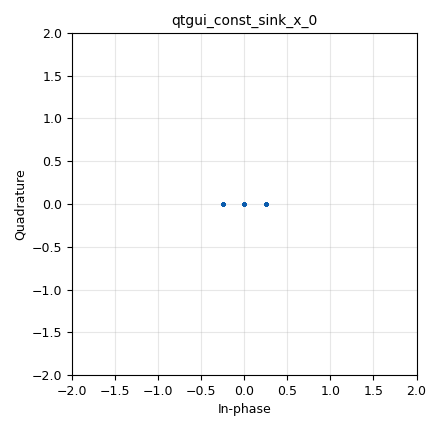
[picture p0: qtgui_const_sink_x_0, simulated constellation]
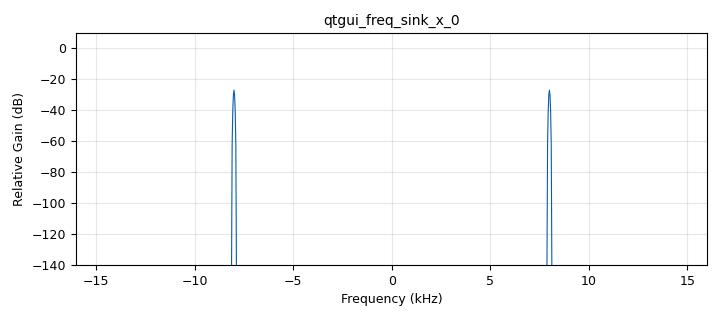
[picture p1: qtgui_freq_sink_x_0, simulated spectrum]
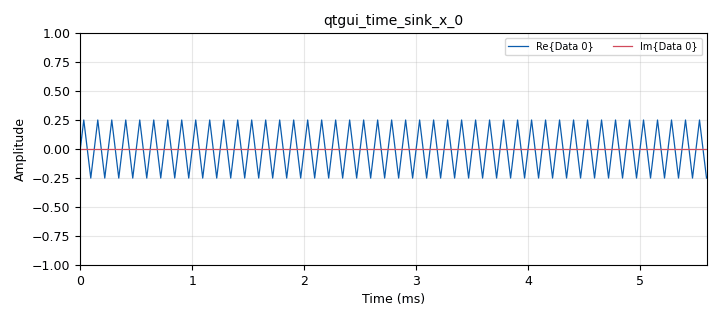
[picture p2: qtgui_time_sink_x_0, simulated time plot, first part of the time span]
<?xml version='1.0' encoding='utf-8'?>
<?grc format='1' created='3.7.13'?>
<flow_graph>
<block>
<key>options</key>
<param><key>id</key><value>top_block</value></param>
<param><key>generate_options</key><value>qt_gui</value></param>
</block>
<block>
<key>variable</key>
<param><key>id</key><value>samp_rate</value></param>
<param><key>value</key><value>32000</value></param>
</block>
<block>
<key>analog_const_source_x</key>
<param><key>id</key><value>analog_const_source_x_0</value></param>
<param><key>const</key><value>1</value></param>
<param><key>type</key><value>float</value></param>
</block>
<block>
<key>analog_const_source_x</key>
<param><key>id</key><value>analog_const_source_x_0_0</value></param>
<param><key>const</key><value>1</value></param>
<param><key>type</key><value>float</value></param>
</block>
<block>
<key>analog_const_source_x</key>
<param><key>id</key><value>analog_const_source_x_1</value></param>
<param><key>const</key><value>0</value></param>
<param><key>type</key><value>float</value></param>
</block>
<block>
<key>analog_sig_source_x</key>
<param><key>id</key><value>analog_sig_source_x_0</value></param>
<param><key>amp</key><value>1</value></param>
<param><key>freq</key><value>8000</value></param>
<param><key>offset</key><value>0</value></param>
<param><key>type</key><value>float</value></param>
<param><key>samp_rate</key><value>samp_rate</value></param>
<param><key>waveform</key><value>analog.GR_SIN_WAVE</value></param>
</block>
<block>
<key>analog_sig_source_x</key>
<param><key>id</key><value>analog_sig_source_x_0_0</value></param>
<param><key>amp</key><value>.25</value></param>
<param><key>freq</key><value>8000</value></param>
<param><key>offset</key><value>0</value></param>
<param><key>type</key><value>float</value></param>
<param><key>samp_rate</key><value>samp_rate</value></param>
<param><key>waveform</key><value>analog.GR_SIN_WAVE</value></param>
</block>
<block>
<key>audio_sink</key>
<param><key>id</key><value>audio_sink_0</value></param>
<param><key>samp_rate</key><value>samp_rate</value></param>
</block>
<block>
<key>blocks_add_xx</key>
<param><key>id</key><value>blocks_add_xx_1</value></param>
<param><key>type</key><value>float</value></param>
</block>
<block>
<key>blocks_float_to_complex</key>
<param><key>id</key><value>blocks_float_to_complex_0</value></param>
</block>
<block>
<key>blocks_multiply_xx</key>
<param><key>id</key><value>blocks_multiply_xx_0</value></param>
<param><key>type</key><value>float</value></param>
</block>
<block>
<key>blocks_multiply_xx</key>
<param><key>id</key><value>blocks_multiply_xx_0_0</value></param>
<param><key>type</key><value>float</value></param>
</block>
<block>
<key>blocks_patterned_interleaver</key>
<param><key>id</key><value>blocks_patterned_interleaver_0</value></param>
<param><key>type</key><value>float</value></param>
<param><key>pattern</key><value>[0,2,1,2,1]</value></param>
</block>
<block>
<key>blocks_patterned_interleaver</key>
<param><key>id</key><value>blocks_patterned_interleaver_2</value></param>
<param><key>type</key><value>float</value></param>
<param><key>pattern</key><value>[0,1]</value></param>
</block>
<block>
<key>blocks_repeat</key>
<param><key>id</key><value>blocks_repeat_0</value></param>
<param><key>interp</key><value>350</value></param>
<param><key>type</key><value>float</value></param>
</block>
<block>
<key>blocks_sub_xx</key>
<param><key>id</key><value>blocks_sub_xx_0</value></param>
<param><key>type</key><value>float</value></param>
</block>
<block>
<key>blocks_vector_source_x</key>
<param><key>id</key><value>blocks_vector_source_x_0</value></param>
<param><key>type</key><value>float</value></param>
<param><key>repeat</key><value>True</value></param>
<param><key>vector</key><value>(1,1,1,0, 0, 0,1,1,1)</value></param>
</block>
<block>
<key>qtgui_const_sink_x</key>
<param><key>id</key><value>qtgui_const_sink_x_0</value></param>
<param><key>size</key><value>1024</value></param>
<param><key>type</key><value>complex</value></param>
</block>
<block>
<key>qtgui_freq_sink_x</key>
<param><key>id</key><value>qtgui_freq_sink_x_0</value></param>
<param><key>bw</key><value>samp_rate</value></param>
<param><key>fc</key><value>0</value></param>
<param><key>fftsize</key><value>1024</value></param>
<param><key>showports</key><value>True</value></param>
<param><key>type</key><value>complex</value></param>
<param><key>wintype</key><value>firdes.WIN_BLACKMAN_hARRIS</value></param>
</block>
<block>
<key>qtgui_time_sink_x</key>
<param><key>id</key><value>qtgui_time_sink_x_0</value></param>
<param><key>color1</key><value>"blue"</value></param>
<param><key>label1</key><value></value></param>
<param><key>color2</key><value>"red"</value></param>
<param><key>label2</key><value></value></param>
<param><key>size</key><value>1024</value></param>
<param><key>srate</key><value>samp_rate</value></param>
<param><key>type</key><value>complex</value></param>
</block>
<connection><source_block_id>analog_const_source_x_0</source_block_id><sink_block_id>blocks_patterned_interleaver_0</sink_block_id><source_key>0</source_key><sink_key>2</sink_key></connection>
<connection><source_block_id>analog_const_source_x_0_0</source_block_id><sink_block_id>blocks_sub_xx_0</sink_block_id><source_key>0</source_key><sink_key>0</sink_key></connection>
<connection><source_block_id>analog_const_source_x_1</source_block_id><sink_block_id>blocks_patterned_interleaver_0</sink_block_id><source_key>0</source_key><sink_key>1</sink_key></connection>
<connection><source_block_id>analog_const_source_x_1</source_block_id><sink_block_id>blocks_patterned_interleaver_2</sink_block_id><source_key>0</source_key><sink_key>1</sink_key></connection>
<connection><source_block_id>analog_sig_source_x_0</source_block_id><sink_block_id>blocks_multiply_xx_0</sink_block_id><source_key>0</source_key><sink_key>1</sink_key></connection>
<connection><source_block_id>analog_sig_source_x_0_0</source_block_id><sink_block_id>blocks_multiply_xx_0_0</sink_block_id><source_key>0</source_key><sink_key>0</sink_key></connection>
<connection><source_block_id>blocks_add_xx_1</source_block_id><sink_block_id>audio_sink_0</sink_block_id><source_key>0</source_key><sink_key>0</sink_key></connection>
<connection><source_block_id>blocks_add_xx_1</source_block_id><sink_block_id>blocks_float_to_complex_0</sink_block_id><source_key>0</source_key><sink_key>0</sink_key></connection>
<connection><source_block_id>blocks_float_to_complex_0</source_block_id><sink_block_id>qtgui_const_sink_x_0</sink_block_id><source_key>0</source_key><sink_key>0</sink_key></connection>
<connection><source_block_id>blocks_float_to_complex_0</source_block_id><sink_block_id>qtgui_freq_sink_x_0</sink_block_id><source_key>0</source_key><sink_key>0</sink_key></connection>
<connection><source_block_id>blocks_float_to_complex_0</source_block_id><sink_block_id>qtgui_time_sink_x_0</sink_block_id><source_key>0</source_key><sink_key>0</sink_key></connection>
<connection><source_block_id>blocks_multiply_xx_0</source_block_id><sink_block_id>blocks_add_xx_1</sink_block_id><source_key>0</source_key><sink_key>1</sink_key></connection>
<connection><source_block_id>blocks_multiply_xx_0_0</source_block_id><sink_block_id>blocks_add_xx_1</sink_block_id><source_key>0</source_key><sink_key>0</sink_key></connection>
<connection><source_block_id>blocks_patterned_interleaver_0</source_block_id><sink_block_id>blocks_patterned_interleaver_2</sink_block_id><source_key>0</source_key><sink_key>0</sink_key></connection>
<connection><source_block_id>blocks_patterned_interleaver_2</source_block_id><sink_block_id>blocks_repeat_0</sink_block_id><source_key>0</source_key><sink_key>0</sink_key></connection>
<connection><source_block_id>blocks_repeat_0</source_block_id><sink_block_id>blocks_multiply_xx_0</sink_block_id><source_key>0</source_key><sink_key>0</sink_key></connection>
<connection><source_block_id>blocks_repeat_0</source_block_id><sink_block_id>blocks_sub_xx_0</sink_block_id><source_key>0</source_key><sink_key>1</sink_key></connection>
<connection><source_block_id>blocks_sub_xx_0</source_block_id><sink_block_id>blocks_multiply_xx_0_0</sink_block_id><source_key>0</source_key><sink_key>1</sink_key></connection>
<connection><source_block_id>blocks_vector_source_x_0</source_block_id><sink_block_id>blocks_patterned_interleaver_0</sink_block_id><source_key>0</source_key><sink_key>0</sink_key></connection>
</flow_graph>
